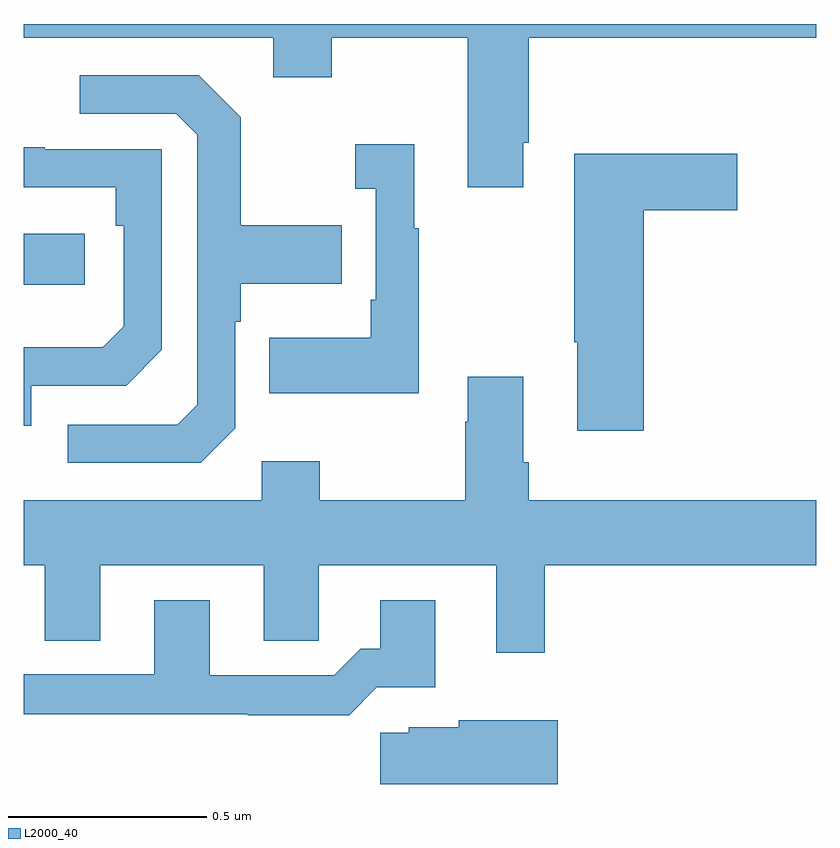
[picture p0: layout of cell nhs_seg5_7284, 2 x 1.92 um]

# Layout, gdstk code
import gdstk
lib = gdstk.Library(unit=1e-6, precision=1e-09)
def R(c, l, rs):  # rectangles x0, y0, x1, y1
    for r in rs: c.add(gdstk.rectangle(r[:2], r[2:], *l))
def P(c, l, *ps):  # polygons
    for p in ps: c.add(gdstk.Polygon(p, *l))
L2000_40 = (2000, 40)

nhs_seg5_7284 = lib.new_cell('nhs_seg5_7284')
R(nhs_seg5_7284, L2000_40, [(207,852.14,207.154,852.27)])
P(nhs_seg5_7284, L2000_40, [(208.261,852.499),(208.274,852.499),(208.274,852.764),(209,852.764),(209,852.799),(207,852.799),(207,852.764),(207.629,852.764),(207.629,852.665),(207.777,852.665),(207.777,852.764),(208.121,852.764),(208.121,852.387),(208.261,852.387)],
  [(207.534,851.778),(207.534,852.047),(207.547,852.047),(207.547,852.143),(207.803,852.143),(207.803,852.291),(207.547,852.291),(207.547,852.563),(207.441,852.669),(207.141,852.669),(207.141,852.573),(207.384,852.573),(207.438,852.519),(207.438,851.838),(207.387,851.787),(207.111,851.787),(207.111,851.691),(207.447,851.691)],
  [(207.997,852.283),(207.985,852.283),(207.985,852.496),(207.837,852.496),(207.837,852.383),(207.888,852.383),(207.888,852.103),(207.876,852.103),(207.876,852.007),(207.619,852.007),(207.619,851.867),(207.997,851.867)],
  [(207.018,851.886),(207.258,851.886),(207.348,851.976),(207.348,852.483),(207.053,852.483),(207.053,852.488),(207,852.488),(207,852.387),(207.232,852.387),(207.232,852.29),(207.252,852.29),(207.252,852.036),(207.199,851.983),(207,851.983),(207,851.784),(207.018,851.784)],
  [(208.565,852.329),(208.801,852.329),(208.801,852.471),(208.39,852.471),(208.39,851.995),(208.397,851.995),(208.397,851.772),(208.565,851.772)],
  [(208.315,851.432),(209,851.432),(209,851.596),(208.274,851.596),(208.274,851.692),(208.261,851.692),(208.261,851.908),(208.121,851.908),(208.121,851.795),(208.114,851.795),(208.114,851.596),(207.747,851.596),(207.747,851.695),(207.6,851.695),(207.6,851.596),(207,851.596),(207,851.432),(207.053,851.432),(207.053,851.242),(207.193,851.242),(207.193,851.432),(207.605,851.432),(207.605,851.242),(207.744,851.242),(207.744,851.432),(208.193,851.432),(208.193,851.211),(208.315,851.211)],
  [(207.891,851.124),(208.039,851.124),(208.039,851.344),(207.899,851.344),(207.899,851.221),(207.85,851.221),(207.783,851.154),(207.469,851.154),(207.469,851.344),(207.329,851.344),(207.329,851.157),(207,851.157),(207,851.056),(207.565,851.056),(207.565,851.054),(207.821,851.054)],
  [(208.348,851.041),(208.098,851.041),(208.098,851.023),(207.972,851.023),(207.972,851.009),(207.9,851.009),(207.9,850.88),(208.348,850.88)])

lib.write_gds('nhs_seg5_7284.gds')
